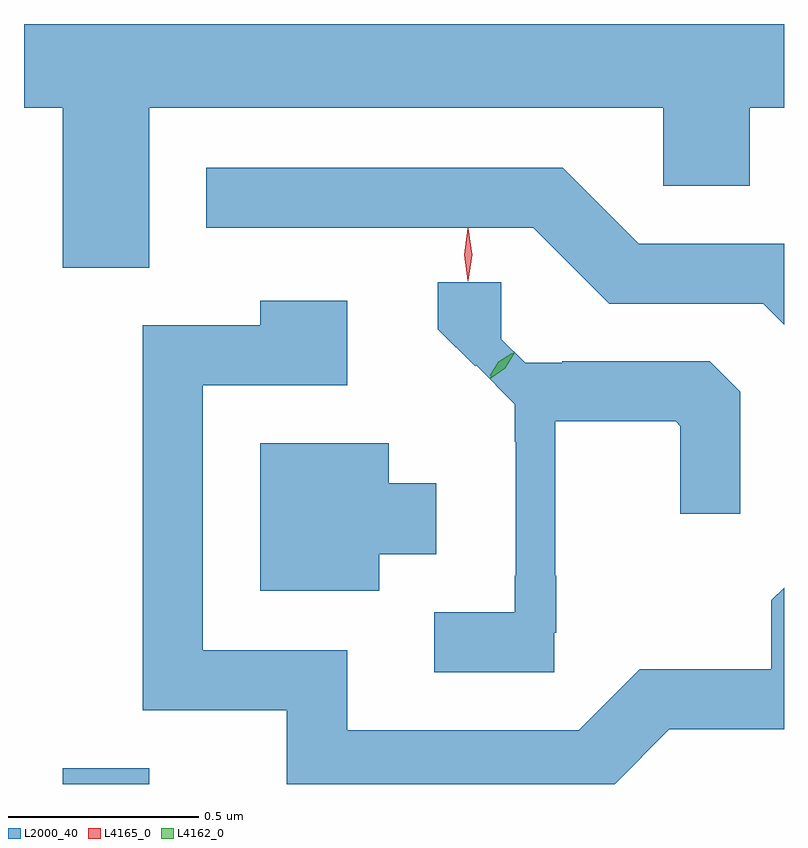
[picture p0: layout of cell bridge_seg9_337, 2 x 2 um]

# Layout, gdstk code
import gdstk
lib = gdstk.Library(unit=1e-6, precision=1e-09)
def R(c, l, rs):  # rectangles x0, y0, x1, y1
    for r in rs: c.add(gdstk.rectangle(r[:2], r[2:], *l))
def P(c, l, *ps):  # polygons
    for p in ps: c.add(gdstk.Polygon(p, *l))
L2000_40 = (2000, 40)
L4162_0 = (4162, 0)
L4165_0 = (4165, 0)

bridge_seg9_337 = lib.new_cell('bridge_seg9_337')
R(bridge_seg9_337, L2000_40, [(855.911,2049.977,856.139,2050.019)])
P(bridge_seg9_337, L2000_40, [(856.139,2051.756),(857.491,2051.756),(857.491,2051.551),(857.719,2051.551),(857.719,2051.756),(857.809,2051.756),(857.809,2051.977),(855.809,2051.977),(855.809,2051.756),(855.911,2051.756),(855.911,2051.336),(856.139,2051.336)],
  [(857.809,2051.399),(857.427,2051.399),(857.227,2051.599),(856.288,2051.599),(856.288,2051.441),(857.149,2051.441),(857.349,2051.241),(857.754,2051.241),(857.809,2051.186)],
  [(857.204,2050.375),(857.209,2050.375),(857.209,2050.525),(857.207,2050.525),(857.207,2050.931),(857.524,2050.931),(857.536,2050.919),(857.536,2050.688),(857.694,2050.688),(857.694,2051.009),(857.614,2051.089),(857.225,2051.089),(857.225,2051.085),(857.128,2051.085),(857.065,2051.148),(857.065,2051.298),(856.898,2051.298),(856.898,2051.174),(856.996,2051.076),(856.999,2051.079),(857.101,2050.977),(857.101,2050.878),(857.103,2050.878),(857.103,2050.525),(857.101,2050.525),(857.101,2050.429),(856.888,2050.429),(856.888,2050.271),(857.204,2050.271)],
  [(857.507,2050.121),(857.809,2050.121),(857.809,2050.494),(857.776,2050.461),(857.776,2050.279),(857.429,2050.279),(857.269,2050.119),(856.659,2050.119),(856.659,2050.329),(856.279,2050.329),(856.279,2051.026),(856.659,2051.026),(856.659,2051.249),(856.431,2051.249),(856.431,2051.184),(856.121,2051.184),(856.121,2050.171),(856.501,2050.171),(856.501,2049.977),(857.363,2049.977)],
  [(856.744,2050.581),(856.894,2050.581),(856.894,2050.769),(856.769,2050.769),(856.769,2050.874),(856.431,2050.874),(856.431,2050.486),(856.744,2050.486)])
P(bridge_seg9_337, L4162_0, [(857.035,2051.043),(857.035,2051.044),(857.06,2051.085),(857.099,2051.113),(857.1,2051.113),(857.1,2051.112),(857.075,2051.071),(857.036,2051.043)],
  [(857.035,2051.051),(857.035,2051.052),(857.057,2051.088),(857.092,2051.111),(857.093,2051.111),(857.093,2051.111),(857.071,2051.074),(857.036,2051.051)])
P(bridge_seg9_337, L4165_0, [(856.978,2051.3),(856.977,2051.301),(856.968,2051.37),(856.977,2051.439),(856.978,2051.439),(856.978,2051.439),(856.988,2051.37),(856.978,2051.301)],
  [(856.978,2051.303),(856.977,2051.304),(856.968,2051.37),(856.977,2051.436),(856.978,2051.437),(856.978,2051.436),(856.988,2051.37),(856.978,2051.304)])

lib.write_gds('bridge_seg9_337.gds')
